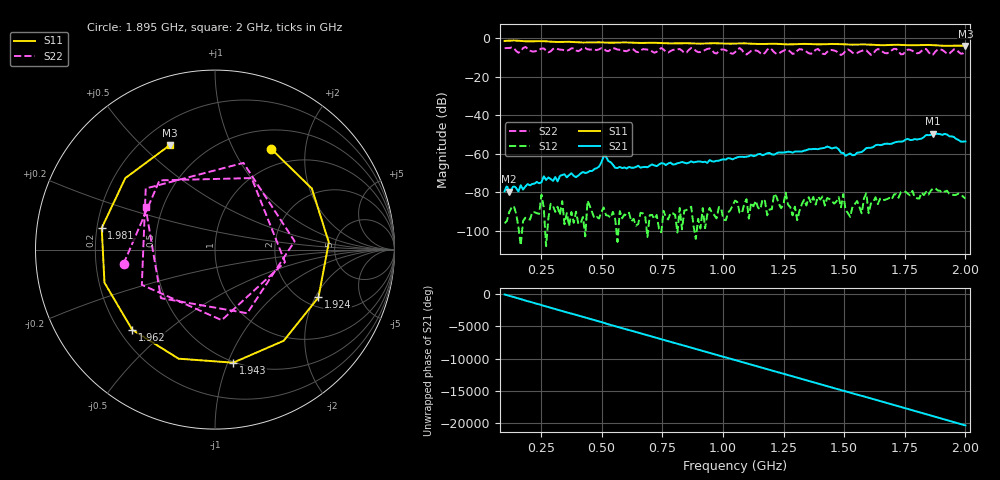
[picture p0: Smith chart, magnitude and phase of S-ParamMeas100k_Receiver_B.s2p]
!Keysight Technologies,N5242B,MY48420967,A.15.65.19
!Date: Saturday, February 04, 2023 08:11:02
!Correction: S11(C  1-Port  )
!S21(Off)
!S12(Off)
!S22(Off)
!S2P File: Measurements: S11, S21, S12, S22:
# Hz S  dB  R 50
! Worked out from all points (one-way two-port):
!   201 points, 100 MHz to 2 GHz, reference 50 ohm
!   highest |S21| = -49.61 dB at 1.867 GHz (marker M1); lowest = -79.7 dB at 119 MHz (marker M2)
!   lowest |S11| = -4.0 dB at 2 GHz (marker M3), VSWR 4.47, Z = 15.7 + j30.6 ohm
!   |S11| at or under -10 dB: nowhere
!   |S22| runs from -8.7 to -4.5 dB; largest |S21 - S12| = 0.0034
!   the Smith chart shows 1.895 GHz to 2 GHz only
!   S11 on the Smith chart (normalised r, x): 1.895 GHz: 0.74, +1.43; 1.924 GHz: 2.39, -2.13; 1.943 GHz: 0.49, -1.05; 1.962 GHz: 0.25, -0.38; 1.981 GHz: 0.22, +0.09; 2 GHz: 0.31, +0.61
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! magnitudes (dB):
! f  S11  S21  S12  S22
! 100 MHz  -1.4  -79.5  -96.1  -5.2
! 109.5 MHz  -1.3  -76.6  -94.8  -5.1
! 119 MHz  -1.3  -79.7  -90.2  -5.1
! 261.5 MHz  -1.5  -71.7  -87.9  -5.3
! 318.5 MHz  -1.9  -74.3  -87.5  -5.6
! 423 MHz  -2.2  -69.5  -92.8  -5.0
! 489.5 MHz  -2.1  -66.7  -93.6  -5.7
! 508.5 MHz  -2.2  -61.3  -87.9  -5.4
! 556 MHz  -2.3  -67.3  -94.0  -5.4
! 736.5 MHz  -2.5  -65.6  -98.9  -5.8
! 1.05 GHz  -2.8  -62.3  -84.3  -7.3
! 1.373 GHz  -3.1  -57.5  -82.4  -7.3
! 1.468 GHz  -3.0  -56.7  -84.8  -6.8
! 1.534 GHz  -3.3  -60.8  -87.5  -7.5
! 1.687 GHz  -3.5  -54.9  -83.0  -7.3
! 1.867 GHz  -3.6  -49.6  -78.0  -8.5
! 1.895 GHz  -3.8  -49.8  -79.2  -5.8
! 1.924 GHz  -3.9  -50.0  -79.2  -8.0
! 1.943 GHz  -3.9  -51.0  -81.0  -6.9
! 1.962 GHz  -3.9  -52.3  -81.3  -5.9
! 1.981 GHz  -3.8  -53.7  -81.3  -8.0
! 2 GHz  -4.0  -53.5  -83.3  -6.9
